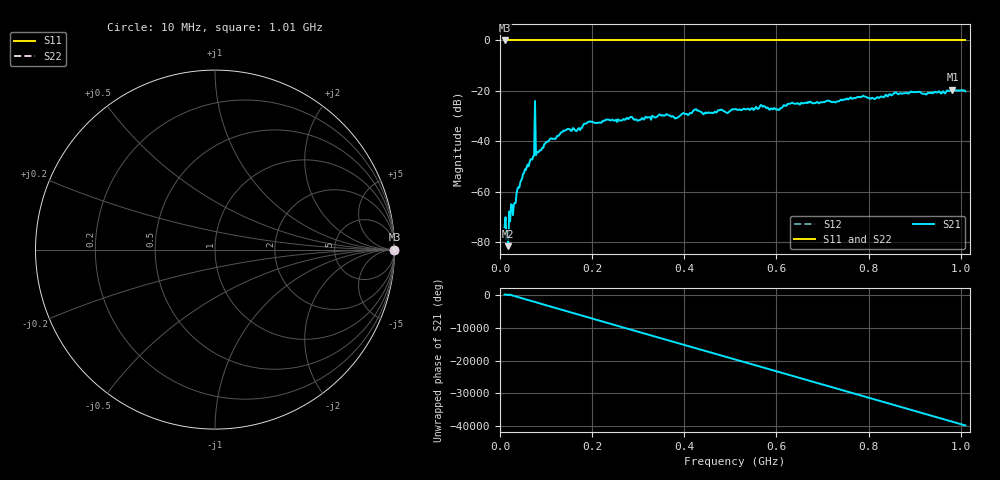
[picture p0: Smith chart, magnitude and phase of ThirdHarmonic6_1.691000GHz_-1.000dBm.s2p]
! 8/16/2025 8:18:46 PM
! C:\ANRITSUVNA\TEMP\TEMP.S2P
! CHANNEL.1
! TR.MEASUREMENT
! RAW.DATA
! RF.CORRECTION.OFF
! AVERAGING.OFF
! IF.BANDWIDTH: 5KHZ
! SWEEPTYPE:  FREQ.SWEEP(Linear)
! Reference Plane Port Info
! PORT:  PORT1  PORT2
! DISTANCE:  0  m  0  m
! TIME:  0  s  0  s
! PHASE.OFFSET:  0  deg.  0  deg.
! LOSS:  0  dB  0  dB
! REF.LOSS:  0  dB  0  dB
! REF.FREQ:  0  Hz  0  Hz
! Power Info
! POWER:  -20  dBm  -20  dBm
! EFF.POWER:  -20  dBm  -20  dBm
! SOURCE.ATTEN:  0  dB  0  dB
! TEST.ATTEN:  0  dB  0  dB
# GHZ S RI R 50.0
! FREQ.GHZ  S11RE  S11IM  S21RE  S21IM  S12RE  S12IM  S22RE  S22IM
!; PortSelection: Port_12
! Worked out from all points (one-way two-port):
!   501 points, 10 MHz to 1.01 GHz, reference 50 ohm
!   highest |S21| = -19.49 dB at 982 MHz (marker M1); lowest = -81.5 dB at 18 MHz (marker M2)
!   lowest |S11| = 0.0 dB at 10 MHz (marker M3)
!   |S11| at or under -10 dB: nowhere
!   |S22| runs from 0.0 to 0.0 dB; largest |S21 - S12| = 1.1
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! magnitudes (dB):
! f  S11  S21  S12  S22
! 10 MHz  0.0  -74.0  0.0  0.0
! 18 MHz  0.0  -81.5  0.0  0.0
! 24 MHz  0.0  -64.9  0.0  0.0
! 32 MHz  0.0  -64.4  0.0  0.0
! 40 MHz  0.0  -58.2  0.0  0.0
! 70 MHz  0.0  -47.2  0.0  0.0
! 72 MHz  0.0  -45.9  0.0  0.0
! 80 MHz  0.0  -44.1  0.0  0.0
! 82 MHz  0.0  -44.4  0.0  0.0
! 136 MHz  0.0  -36.1  0.0  0.0
! 178 MHz  0.0  -34.5  0.0  0.0
! 196 MHz  0.0  -32.1  0.0  0.0
! 344 MHz  0.0  -29.6  0.0  0.0
! 382 MHz  0.0  -30.7  0.0  0.0
! 424 MHz  0.0  -27.2  0.0  0.0
! 510 MHz  0.0  -27.3  0.0  0.0
! 602 MHz  0.0  -27.2  0.0  0.0
! 630 MHz  0.0  -25.0  0.0  0.0
! 678 MHz  0.0  -24.9  0.0  0.0
! 844 MHz  0.0  -21.5  0.0  0.0
! 982 MHz  0.0  -19.5  0.0  0.0
! 1.01 GHz  0.0  -20.1  0.0  0.0
